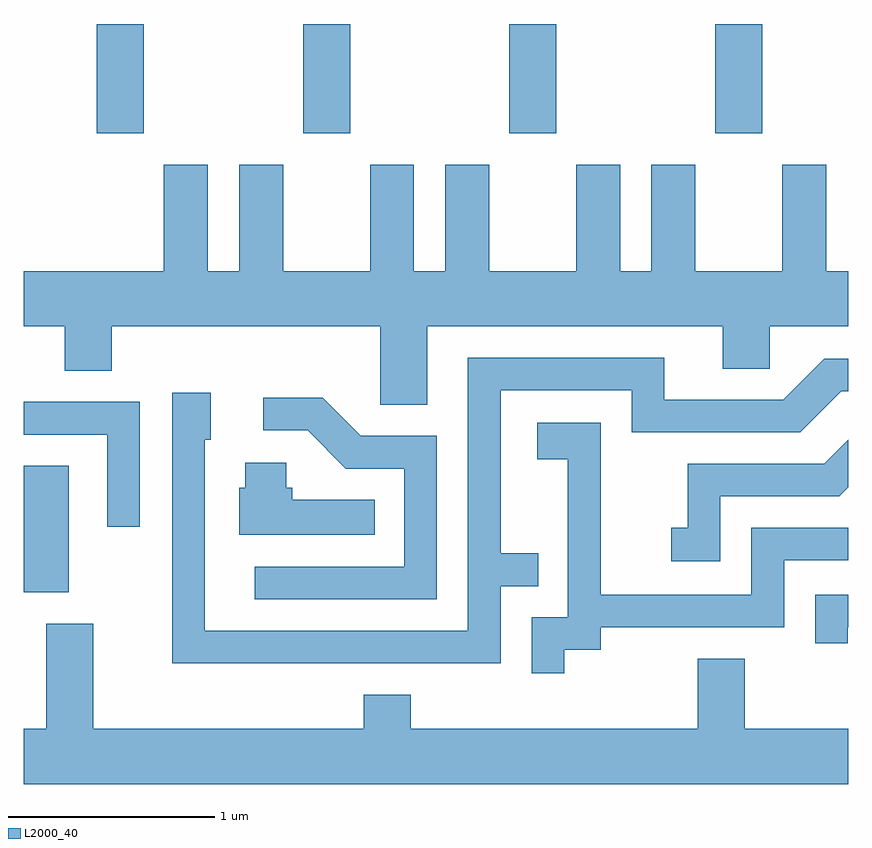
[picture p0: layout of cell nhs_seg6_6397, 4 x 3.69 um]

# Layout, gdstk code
import gdstk
lib = gdstk.Library(unit=1e-6, precision=1e-09)
def R(c, l, rs):  # rectangles x0, y0, x1, y1
    for r in rs: c.add(gdstk.rectangle(r[:2], r[2:], *l))
def A(c, l, x, y, w, h, nx, ny, dx, dy):  # array of equal rectangles
    R(c, l, [(x+i*dx, y+j*dy, x+i*dx+w, y+j*dy+h) for i in range(nx) for j in range(ny)])
def P(c, l, *ps):  # polygons
    for p in ps: c.add(gdstk.Polygon(p, *l))
L2000_40 = (2000, 40)

nhs_seg6_6397 = lib.new_cell('nhs_seg6_6397')
A(nhs_seg6_6397, L2000_40, 379.966, 1557.631, 0.228, 0.531, 4, 1, 1, 0)
R(nhs_seg6_6397, L2000_40, [(379.611,1555.406,379.829,1556.019)])
P(nhs_seg6_6397, L2000_40, [(381.569,1556.696),(383.001,1556.696),(383.001,1556.491),(383.229,1556.491),(383.229,1556.696),(383.611,1556.696),(383.611,1556.964),(383.504,1556.964),(383.504,1557.479),(383.291,1557.479),(383.291,1556.964),(382.869,1556.964),(382.869,1557.479),(382.656,1557.479),(382.656,1556.964),(382.504,1556.964),(382.504,1557.479),(382.291,1557.479),(382.291,1556.964),(381.869,1556.964),(381.869,1557.479),(381.656,1557.479),(381.656,1556.964),(381.504,1556.964),(381.504,1557.479),(381.291,1557.479),(381.291,1556.964),(380.869,1556.964),(380.869,1557.479),(380.656,1557.479),(380.656,1556.964),(380.504,1556.964),(380.504,1557.479),(380.291,1557.479),(380.291,1556.964),(379.611,1556.964),(379.611,1556.696),(379.811,1556.696),(379.811,1556.481),(380.039,1556.481),(380.039,1556.696),(381.341,1556.696),(381.341,1556.316),(381.569,1556.316)],
  [(381.924,1555.436),(382.108,1555.436),(382.108,1555.594),(381.924,1555.594),(381.924,1556.386),(382.561,1556.386),(382.561,1556.181),(383.377,1556.181),(383.577,1556.381),(383.611,1556.381),(383.611,1556.539),(383.494,1556.539),(383.294,1556.339),(382.719,1556.339),(382.719,1556.544),(381.766,1556.544),(381.766,1555.219),(380.489,1555.219),(380.489,1556.146),(380.519,1556.146),(380.519,1556.374),(380.331,1556.374),(380.331,1555.061),(381.924,1555.061)],
  [(381.614,1556.164),(381.247,1556.164),(381.062,1556.349),(380.773,1556.349),(380.773,1556.191),(380.989,1556.191),(381.174,1556.006),(381.456,1556.006),(381.456,1555.529),(380.733,1555.529),(380.733,1555.371),(381.614,1555.371)],
  [(380.174,1556.329),(379.611,1556.329),(379.611,1556.171),(380.016,1556.171),(380.016,1555.723),(380.174,1555.723)],
  [(382.234,1555.126),(382.409,1555.126),(382.409,1555.236),(383.299,1555.236),(383.299,1555.561),(383.611,1555.561),(383.611,1555.719),(383.141,1555.719),(383.141,1555.394),(382.409,1555.394),(382.409,1556.229),(382.101,1556.229),(382.101,1556.051),(382.251,1556.051),(382.251,1555.284),(382.076,1555.284),(382.076,1555.013),(382.234,1555.013)],
  [(382.989,1555.871),(383.567,1555.871),(383.611,1555.915),(383.611,1556.146),(383.494,1556.029),(382.831,1556.029),(382.831,1555.719),(382.753,1555.719),(382.753,1555.556),(382.989,1555.556)],
  [(381.313,1555.854),(380.914,1555.854),(380.914,1555.914),(380.884,1555.914),(380.884,1556.034),(380.686,1556.034),(380.686,1555.914),(380.656,1555.914),(380.656,1555.686),(381.313,1555.686)],
  [(383.609,1555.236),(383.611,1555.236),(383.611,1555.394),(383.451,1555.394),(383.451,1555.158),(383.609,1555.158)],
  [(383.611,1554.744),(383.109,1554.744),(383.109,1555.084),(382.881,1555.084),(382.881,1554.744),(381.489,1554.744),(381.489,1554.909),(381.261,1554.909),(381.261,1554.744),(379.949,1554.744),(379.949,1555.254),(379.721,1555.254),(379.721,1554.744),(379.611,1554.744),(379.611,1554.476),(383.611,1554.476)])

lib.write_gds('nhs_seg6_6397.gds')
